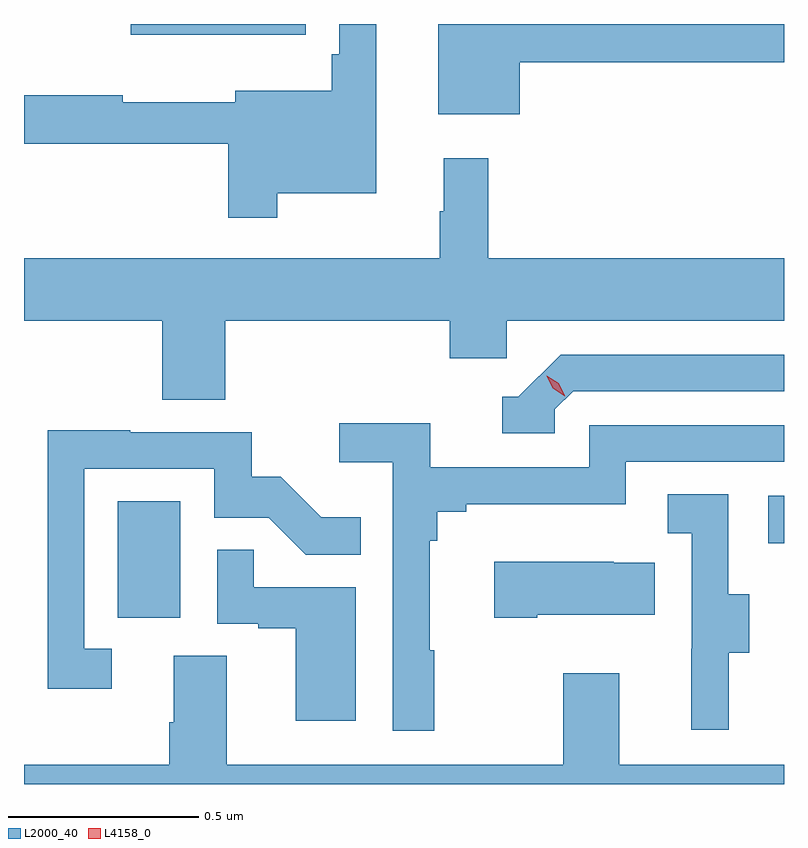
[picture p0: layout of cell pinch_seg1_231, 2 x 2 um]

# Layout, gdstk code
import gdstk
lib = gdstk.Library(unit=1e-6, precision=1e-09)
def R(c, l, rs):  # rectangles x0, y0, x1, y1
    for r in rs: c.add(gdstk.rectangle(r[:2], r[2:], *l))
def P(c, l, *ps):  # polygons
    for p in ps: c.add(gdstk.Polygon(p, *l))
L2000_40 = (2000, 40)
L4158_0 = (4158, 0)

pinch_seg1_231 = lib.new_cell('pinch_seg1_231')
R(pinch_seg1_231, L2000_40, [(984.278,564.27,984.442,564.577), (985.989,564.467,986.031,564.591), (984.312,565.805,984.772,565.833)])
P(pinch_seg1_231, L2000_40, [(984.697,565.388),(984.958,565.388),(984.958,565.833),(984.861,565.833),(984.861,565.753),(984.841,565.753),(984.841,565.657),(984.587,565.657),(984.587,565.627),(984.291,565.627),(984.291,565.646),(984.031,565.646),(984.031,565.518),(984.568,565.518),(984.568,565.323),(984.697,565.323)],
  [(985.336,565.732),(986.031,565.732),(986.031,565.833),(985.121,565.833),(985.121,565.595),(985.336,565.595)],
  [(985.136,565.34),(985.125,565.34),(985.125,565.216),(984.031,565.216),(984.031,565.052),(984.395,565.052),(984.395,564.844),(984.56,564.844),(984.56,565.052),(985.151,565.052),(985.151,564.954),(985.302,564.954),(985.302,565.052),(986.031,565.052),(986.031,565.216),(985.253,565.216),(985.253,565.48),(985.136,565.48)],
  [(985.428,564.819),(985.476,564.867),(986.031,564.867),(986.031,564.963),(985.443,564.963),(985.332,564.852),(985.289,564.852),(985.289,564.756),(985.428,564.756)],
  [(985.111,564.185),(985.099,564.185),(985.099,564.473),(985.118,564.473),(985.118,564.55),(985.195,564.55),(985.195,564.569),(985.614,564.569),(985.614,564.681),(986.031,564.681),(986.031,564.777),(985.518,564.777),(985.518,564.666),(985.1,564.666),(985.1,564.782),(984.861,564.782),(984.861,564.68),(985.002,564.68),(985.002,563.973),(985.111,563.973)],
  [(984.262,564.189),(984.189,564.189),(984.189,564.663),(984.531,564.663),(984.531,564.534),(984.675,564.534),(984.773,564.436),(984.917,564.436),(984.917,564.535),(984.813,564.535),(984.706,564.642),(984.63,564.642),(984.63,564.759),(984.311,564.759),(984.311,564.764),(984.093,564.764),(984.093,564.084),(984.262,564.084)],
  [(985.885,564.178),(985.939,564.178),(985.939,564.333),(985.884,564.333),(985.884,564.596),(985.725,564.596),(985.725,564.493),(985.788,564.493),(985.788,564.189),(985.787,564.189),(985.787,563.976),(985.885,563.976)],
  [(984.904,564.351),(984.635,564.351),(984.635,564.449),(984.54,564.449),(984.54,564.255),(984.647,564.255),(984.647,564.243),(984.746,564.243),(984.746,564),(984.904,564)],
  [(985.381,564.278),(985.691,564.278),(985.691,564.415),(985.583,564.415),(985.583,564.418),(985.269,564.418),(985.269,564.271),(985.381,564.271)],
  [(986.031,563.884),(985.597,563.884),(985.597,564.124),(985.45,564.124),(985.45,563.884),(984.565,563.884),(984.565,564.17),(984.425,564.17),(984.425,563.996),(984.413,563.996),(984.413,563.884),(984.031,563.884),(984.031,563.833),(986.031,563.833)])
P(pinch_seg1_231, L4158_0, [(985.454,564.854),(985.423,564.874),(985.407,564.907),(985.407,564.907),(985.407,564.907),(985.438,564.887),(985.454,564.855),(985.454,564.854)])

lib.write_gds('pinch_seg1_231.gds')
